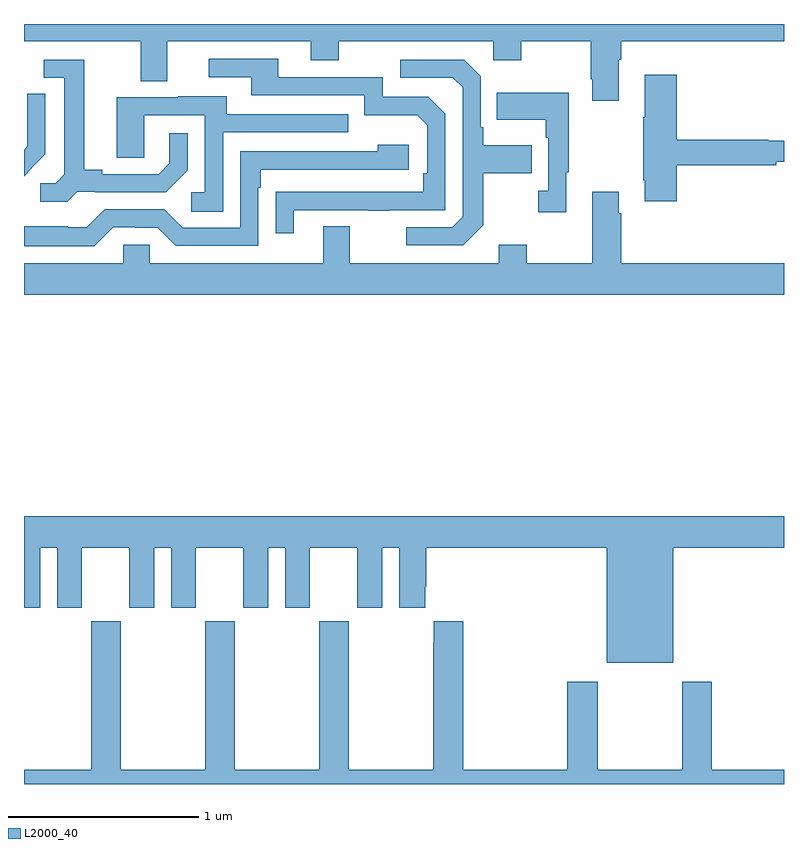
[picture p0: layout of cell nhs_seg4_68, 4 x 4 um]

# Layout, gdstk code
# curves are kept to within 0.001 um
import gdstk
lib = gdstk.Library(unit=1e-6, precision=1e-09)
def P(c, l, *ps):  # polygons
    for p in ps: c.add(gdstk.Polygon(p, *l))
L2000_40 = (2000, 40)

nhs_seg4_68 = lib.new_cell('nhs_seg4_68')
P(nhs_seg4_68, L2000_40, [(116.131,808.712),(116.144,808.712),(116.144,808.808),(117,808.808),(117,808.9),(113,808.9),(113,808.808),(113.615,808.808),(113.615,808.6),(113.755,808.6),(113.755,808.808),(114.509,808.808),(114.509,808.709),(114.657,808.709),(114.657,808.808),(115.47,808.808),(115.47,808.709),(115.617,808.709),(115.617,808.808),(115.984,808.808),(115.984,808.609),(115.991,808.609),(115.991,808.497),(116.131,808.497)],
  [(114.421,807.921),(114.811,807.921),(114.811,807.916),(114.923,807.916),(114.923,807.921),(115.218,807.921),(115.218,808.428),(115.128,808.518),(114.888,808.518),(114.888,808.62),(114.337,808.62),(114.337,808.716),(113.973,808.716),(113.973,808.62),(114.197,808.62),(114.197,808.524),(114.792,808.524),(114.792,808.421),(115.069,808.421),(115.122,808.368),(115.122,808.114),(115.102,808.114),(115.102,808.017),(114.325,808.016),(114.325,807.798),(114.421,807.798)],
  [(115.417,807.841),(115.417,808.114),(115.673,808.114),(115.673,808.261),(115.417,808.261),(115.417,808.357),(115.404,808.357),(115.404,808.626),(115.317,808.713),(114.981,808.713),(114.981,808.617),(115.257,808.617),(115.308,808.566),(115.308,807.885),(115.254,807.831),(115.011,807.831),(115.011,807.735),(115.311,807.735)],
  [(113.28,808.017),(113.374,808.017),(113.374,808.014),(113.746,808.014),(113.862,808.13),(113.862,808.324),(113.765,808.324),(113.765,808.167),(113.708,808.11),(113.413,808.11),(113.413,808.133),(113.317,808.133),(113.317,808.713),(113.103,808.713),(113.103,808.617),(113.213,808.617),(113.213,808.109),(113.166,808.062),(113.085,808.062),(113.085,807.965),(113.228,807.965)],
  [(116.435,808.156),(116.96,808.156),(116.96,808.175),(117,808.175),(117,808.285),(116.918,808.285),(116.918,808.292),(116.435,808.292),(116.435,808.633),(116.267,808.633),(116.267,808.409),(116.26,808.409),(116.26,808.078),(116.267,808.078),(116.267,807.966),(116.435,807.966)],
  [(115.855,808.121),(115.867,808.121),(115.867,808.537),(115.489,808.537),(115.489,808.397),(115.746,808.397),(115.746,808.301),(115.758,808.301),(115.758,808.022),(115.707,808.022),(115.707,807.909),(115.855,807.909)],
  [(113.04,808.14),(113.039,808.141),(113.112,808.214),(113.112,808.532),(113.016,808.532),(113.016,808.378),(113.018,808.378),(113.018,808.256),(113,808.238),(113,808.1)],
  [(114.048,808.329),(114.707,808.329),(114.707,808.425),(114.067,808.425),(114.067,808.519),(113.813,808.519),(113.813,808.515),(113.489,808.515),(113.489,808.195),(113.634,808.195),(113.634,808.419),(113.952,808.419),(113.952,808.014),(113.88,808.014),(113.88,807.913),(114.048,807.913)],
  [(113.469,807.831),(113.585,807.831),(113.585,807.828),(113.703,807.828),(113.799,807.732),(114.234,807.732),(114.234,808.037),(114.247,808.037),(114.247,808.134),(115.024,808.134),(115.024,808.264),(114.863,808.264),(114.863,808.23),(114.138,808.23),(114.138,807.828),(113.835,807.828),(113.739,807.924),(113.424,807.924),(113.331,807.831),(113.231,807.831),(113.231,807.835),(113,807.835),(113,807.731),(113.369,807.731)],
  [(117,807.64),(116.144,807.64),(116.144,807.905),(116.131,807.905),(116.131,808.018),(115.991,808.018),(115.991,807.64),(115.647,807.64),(115.647,807.739),(115.499,807.739),(115.499,807.64),(114.715,807.64),(114.715,807.835),(114.575,807.835),(114.575,807.64),(113.661,807.64),(113.661,807.738),(113.523,807.738),(113.523,807.64),(113,807.64),(113,807.476),(117,807.476)],
  [(116.416,806.144),(117,806.144),(117,806.308),(113,806.308),(113,805.827),(113.086,805.827),(113.086,806.144),(113.174,806.144),(113.174,805.827),(113.305,805.827),(113.305,806.144),(113.555,806.144),(113.555,805.827),(113.686,805.827),(113.686,806.144),(113.774,806.144),(113.774,805.827),(113.905,805.827),(113.905,806.144),(114.155,806.144),(114.155,805.827),(114.286,805.827),(114.286,806.144),(114.374,806.144),(114.374,805.827),(114.505,805.827),(114.505,806.144),(114.755,806.144),(114.755,805.827),(114.886,805.827),(114.886,806.144),(114.974,806.144),(114.974,805.827),(115.111,805.827),(115.111,805.939),(115.118,805.939),(115.118,806.144),(116.066,806.144),(116.066,805.538),(116.416,805.538)],
  [(117,804.976),(116.619,804.976),(116.619,805.438),(116.464,805.438),(116.464,804.976),(116.019,804.976),(116.019,805.438),(115.859,805.438),(115.859,804.976),(115.313,804.976),(115.313,805.756),(115.157,805.756),(115.157,805.643),(115.153,805.643),(115.153,804.976),(114.708,804.976),(114.708,805.756),(114.553,805.756),(114.553,804.976),(114.108,804.976),(114.108,805.756),(113.953,805.756),(113.953,804.976),(113.508,804.976),(113.508,805.756),(113.353,805.756),(113.353,804.976),(113,804.976),(113,804.9),(117,804.9)])

lib.write_gds('nhs_seg4_68.gds')
